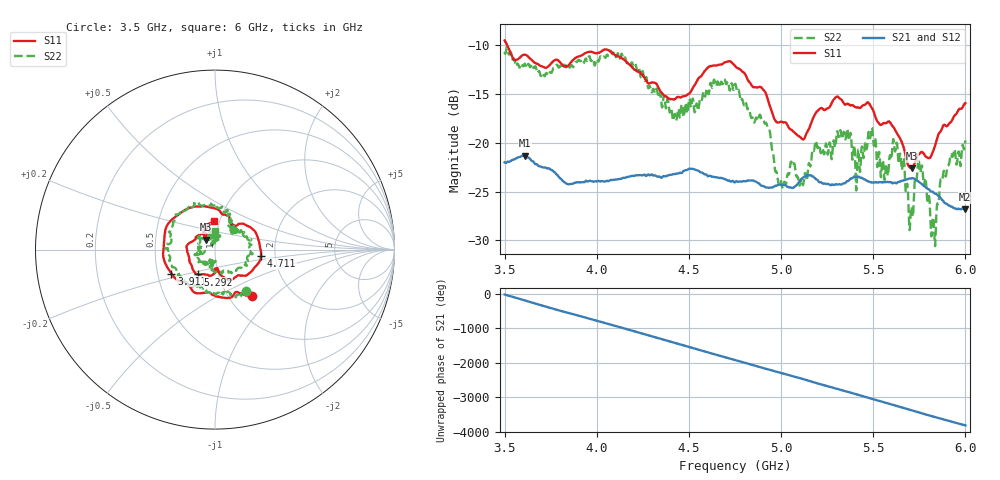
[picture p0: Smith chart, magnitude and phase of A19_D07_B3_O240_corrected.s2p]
! Created with skrf 1.9.0 (http://scikit-rf.org).
# Hz S RI R 50.0
!freq ReS11 ImS11 ReS21 ImS21 ReS12 ImS12 ReS22 ImS22
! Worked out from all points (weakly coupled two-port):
!   1601 points, 3.5 GHz to 6 GHz, reference 50 ohm
!   highest |S21| = -21.35 dB at 3.609 GHz (marker M1); lowest = -26.8 dB at 5.997 GHz (marker M2)
!   lowest |S11| = -22.6 dB at 5.708 GHz (marker M3), VSWR 1.16, Z = 45.1 + j5.07 ohm
!   |S11| at or under -10 dB: 3.513 GHz to end of sweep
!   |S22| runs from -30.6 to -10.3 dB; largest |S21 - S12| = 0.001
!   S11 on the Smith chart (normalised r, x): 3.5 GHz: 1.27, -0.75; 3.911 GHz: 0.59, -0.17; 4.711 GHz: 1.68, -0.13; 5.292 GHz: 0.80, -0.23; 6 GHz: 0.94, +0.30
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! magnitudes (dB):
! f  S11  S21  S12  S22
! 3.5 GHz  -9.6  -22.0  -22.0  -10.7
! 3.609 GHz  -11.0  -21.4  -21.4  -11.9
! 3.911 GHz  -11.2  -24.1  -24.0  -11.7
! 3.917 GHz  -11.1  -24.1  -24.0  -11.6
! 4.334 GHz  -14.4  -23.5  -23.4  -15.4
! 4.423 GHz  -15.6  -23.2  -23.2  -17.1
! 4.711 GHz  -11.7  -23.9  -23.8  -13.7
! 4.75 GHz  -12.2  -24.1  -24.0  -14.0
! 4.928 GHz  -15.6  -24.6  -24.6  -18.6
! 4.997 GHz  -17.9  -24.3  -24.3  -23.8
! 5.167 GHz  -17.8  -23.4  -23.4  -21.2
! 5.292 GHz  -15.5  -24.3  -24.3  -20.5
! 5.417 GHz  -16.4  -23.5  -23.6  -20.9
! 5.486 GHz  -16.3  -24.1  -24.0  -19.3
! 5.584 GHz  -17.8  -24.0  -24.0  -22.5
! 5.62 GHz  -18.8  -24.1  -24.1  -20.8
! 5.708 GHz  -22.6  -23.7  -23.6  -26.6
! 5.755 GHz  -21.1  -24.1  -24.1  -23.0
! 5.827 GHz  -20.8  -25.1  -25.1  -27.7
! 5.875 GHz  -18.5  -25.9  -25.8  -23.7
! 5.997 GHz  -16.0  -26.8  -26.7  -20.3
! 6 GHz  -16.0  -26.8  -26.8  -19.8
